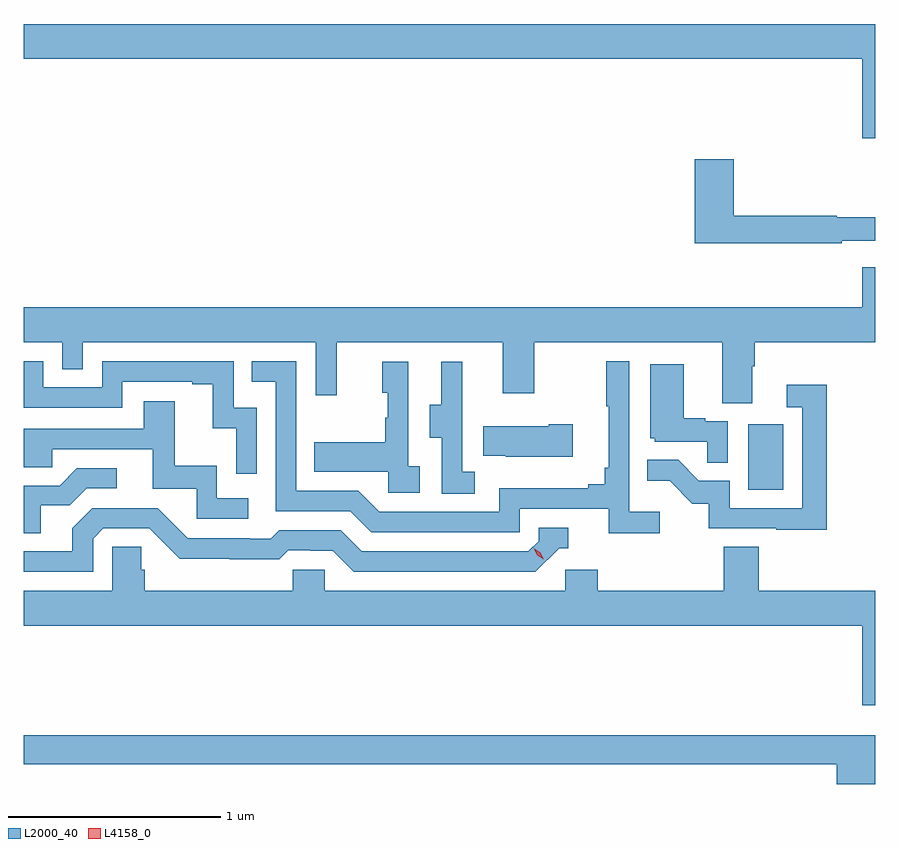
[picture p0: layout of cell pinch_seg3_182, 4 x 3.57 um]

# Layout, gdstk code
import gdstk
lib = gdstk.Library(unit=1e-6, precision=1e-09)
def R(c, l, rs):  # rectangles x0, y0, x1, y1
    for r in rs: c.add(gdstk.rectangle(r[:2], r[2:], *l))
def P(c, l, *ps):  # polygons
    for p in ps: c.add(gdstk.Polygon(p, *l))
L2000_40 = (2000, 40)
L4158_0 = (4158, 0)

pinch_seg3_182 = lib.new_cell('pinch_seg3_182')
R(pinch_seg3_182, L2000_40, [(991.646,736.188,991.81,736.495)])
P(pinch_seg3_182, L2000_40, [(992.241,738.376),(988.241,738.376),(988.241,738.212),(992.18,738.212),(992.18,737.838),(992.241,737.838)],
  [(992.084,737.358),(992.241,737.358),(992.241,737.467),(992.06,737.467),(992.06,737.474),(991.577,737.474),(991.577,737.74),(991.394,737.74),(991.394,737.346),(992.084,737.346)],
  [(991.663,736.768),(991.676,736.768),(991.676,736.88),(992.241,736.88),(992.241,737.233),(992.18,737.233),(992.18,737.044),(988.241,737.044),(988.241,736.88),(988.422,736.88),(988.422,736.753),(988.518,736.753),(988.518,736.88),(989.613,736.88),(989.613,736.632),(989.711,736.632),(989.711,736.88),(990.491,736.88),(990.491,736.641),(990.639,736.641),(990.639,736.88),(991.523,736.88),(991.523,736.594),(991.663,736.594)],
  [(991.228,736.084),(991.086,736.084),(991.086,736.792),(990.978,736.792),(990.978,736.579),(990.989,736.579),(990.989,736.291),(990.97,736.291),(990.97,736.214),(990.893,736.214),(990.893,736.195),(990.474,736.195),(990.474,736.083),(989.91,736.083),(989.811,736.182),(989.52,736.182),(989.52,736.791),(989.311,736.791),(989.311,736.695),(989.424,736.695),(989.424,736.086),(989.774,736.086),(989.873,735.987),(990.57,735.987),(990.57,736.098),(990.989,736.098),(990.989,735.982),(991.228,735.982)],
  [(989.334,736.572),(989.226,736.572),(989.226,736.791),(988.608,736.791),(988.608,736.668),(988.332,736.668),(988.332,736.791),(988.241,736.791),(988.241,736.572),(988.704,736.572),(988.704,736.695),(989.033,736.695),(989.033,736.683),(989.129,736.683),(989.129,736.475),(989.238,736.475),(989.238,736.263),(989.334,736.263)],
  [(990.1,736.298),(990.048,736.298),(990.048,736.789),(989.924,736.789),(989.924,736.644),(989.95,736.644),(989.95,736.526),(989.94,736.526),(989.94,736.411),(989.605,736.411),(989.605,736.271),(989.952,736.271),(989.952,736.173),(990.1,736.173)],
  [(990.36,736.271),(990.3,736.271),(990.3,736.575),(990.302,736.575),(990.302,736.789),(990.203,736.789),(990.203,736.587),(990.149,736.587),(990.149,736.432),(990.204,736.432),(990.204,736.168),(990.36,736.168)],
  [(991.548,736.509),(991.442,736.509),(991.442,736.522),(991.342,736.522),(991.342,736.777),(991.184,736.777),(991.184,736.428),(991.206,736.428),(991.206,736.413),(991.453,736.413),(991.453,736.315),(991.548,736.315)],
  [(992.015,736.681),(991.827,736.681),(991.827,736.575),(991.899,736.575),(991.899,736.101),(991.557,736.101),(991.557,736.23),(991.413,736.23),(991.315,736.328),(991.171,736.328),(991.171,736.229),(991.275,736.229),(991.382,736.122),(991.459,736.122),(991.459,736.005),(991.777,736.005),(991.777,736),(992.015,736)],
  [(989.296,736.146),(989.148,736.146),(989.148,736.3),(988.949,736.3),(988.949,736.603),(988.805,736.603),(988.805,736.473),(988.241,736.473),(988.241,736.293),(988.373,736.293),(988.373,736.377),(988.847,736.377),(988.847,736.191),(989.052,736.191),(989.052,736.05),(989.296,736.05)],
  [(990.82,736.494),(990.707,736.494),(990.707,736.486),(990.4,736.486),(990.4,736.346),(990.505,736.346),(990.505,736.343),(990.82,736.343)],
  [(988.321,736.114),(988.456,736.114),(988.536,736.194),(988.678,736.194),(988.678,736.287),(988.49,736.287),(988.409,736.206),(988.241,736.206),(988.241,735.982),(988.321,735.982)],
  [(988.566,735.957),(988.614,736.005),(988.83,736.005),(988.972,735.863),(989.208,735.863),(989.208,735.861),(989.441,735.861),(989.483,735.903),(989.586,735.903),(989.586,735.9),(989.693,735.9),(989.792,735.801),(990.645,735.801),(990.756,735.912),(990.799,735.912),(990.799,736.008),(990.66,736.008),(990.66,735.945),(990.612,735.897),(989.829,735.897),(989.73,735.996),(989.441,735.996),(989.402,735.957),(989.303,735.957),(989.303,735.96),(989.01,735.96),(988.869,736.101),(988.563,736.101),(988.469,736.007),(988.469,735.897),(988.241,735.897),(988.241,735.801),(988.566,735.801)],
  [(992.241,735.712),(991.694,735.712),(991.694,735.92),(991.529,735.92),(991.529,735.712),(990.938,735.712),(990.938,735.81),(990.786,735.81),(990.786,735.712),(989.655,735.712),(989.655,735.81),(989.505,735.81),(989.505,735.712),(988.808,735.712),(988.808,735.81),(988.793,735.81),(988.793,735.92),(988.656,735.92),(988.656,735.712),(988.241,735.712),(988.241,735.548),(992.18,735.548),(992.18,735.174),(992.241,735.174)],
  [(992.241,735.032),(988.241,735.032),(988.241,734.896),(992.06,734.896),(992.06,734.804),(992.241,734.804)])
P(pinch_seg3_182, L4158_0, [(990.684,735.86),(990.653,735.879),(990.636,735.911),(990.636,735.912),(990.636,735.912),(990.667,735.892),(990.684,735.86),(990.684,735.86)])

lib.write_gds('pinch_seg3_182.gds')
